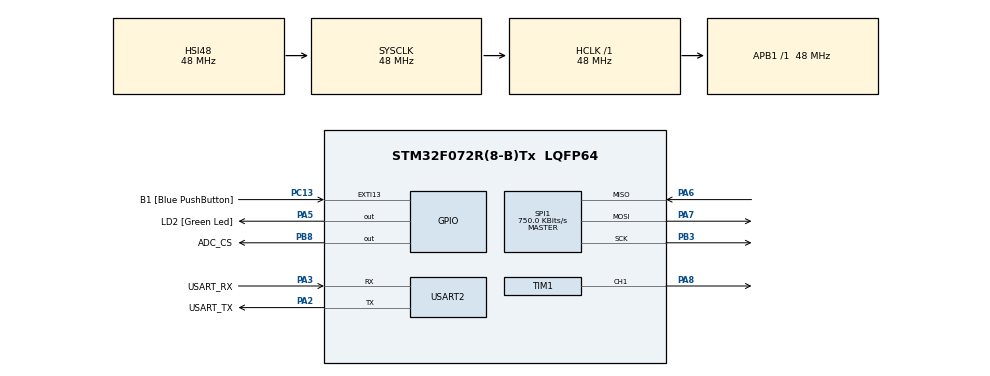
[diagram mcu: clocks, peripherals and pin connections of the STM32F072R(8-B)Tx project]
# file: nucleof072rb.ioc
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Mcu.Family=STM32F0
Mcu.Name=STM32F072R(8-B)Tx
Mcu.Package=LQFP64
PA13.GPIO_Label=TMS
PA13.Mode=Serial_Wire
PA13.Signal=SYS_SWDIO
PA14.GPIO_Label=TCK
PA14.Mode=Serial_Wire
PA14.Signal=SYS_SWCLK
PA2.GPIO_Label=USART_TX
PA2.GPIO_Mode=GPIO_MODE_AF_PP
PA2.GPIO_PuPd=GPIO_NOPULL
PA2.GPIO_Speed=GPIO_SPEED_FREQ_LOW
PA2.Mode=Asynchronous
PA2.Signal=USART2_TX
PA3.GPIO_Label=USART_RX
PA3.GPIO_Mode=GPIO_MODE_AF_PP
PA3.GPIO_PuPd=GPIO_NOPULL
PA3.GPIO_Speed=GPIO_SPEED_FREQ_LOW
PA3.Mode=Asynchronous
PA3.Signal=USART2_RX
PA5.GPIO_Label=LD2 [Green Led]
PA5.GPIO_Mode=GPIO_MODE_OUTPUT_PP
PA5.GPIO_PuPd=GPIO_NOPULL
PA5.GPIO_Speed=GPIO_SPEED_FREQ_LOW
PA5.Signal=GPIO_Output
PA6.Mode=Full_Duplex_Master
PA6.Signal=SPI1_MISO
PA7.Mode=Full_Duplex_Master
PA7.Signal=SPI1_MOSI
PA8.Signal=S_TIM1_CH1
PB3.Mode=Full_Duplex_Master
PB3.Signal=SPI1_SCK
PB8.GPIO_Label=ADC_CS
PB8.PinState=GPIO_PIN_SET
PB8.Signal=GPIO_Output
PC13.GPIO_Label=B1 [Blue PushButton]
PC13.GPIO_ModeDefaultEXTI=GPIO_MODE_IT_FALLING
PC13.Signal=GPXTI13
PC14-OSC32_IN.Mode=LSE-External-Oscillator
PC14-OSC32_IN.Signal=RCC_OSC32_IN
PC15-OSC32_OUT.Mode=LSE-External-Oscillator
PC15-OSC32_OUT.Signal=RCC_OSC32_OUT
PF0-OSC_IN.Mode=HSE-External-Clock-Source
PF0-OSC_IN.Signal=RCC_OSC_IN
PF1-OSC_OUT.Signal=RCC_OSC_OUT
ProjectManager.HeapSize=0x200
ProjectManager.StackSize=0x400
ProjectManager.TargetToolchain=STM32CubeIDE
RCC.AHBFreq_Value=48000000
RCC.APB1Freq_Value=48000000
RCC.APB1TimFreq_Value=48000000
RCC.FLatency-AdvancedSettings=FLASH_LATENCY_1
RCC.HCLKFreq_Value=48000000
RCC.PLLDivider=RCC_PREDIV_DIV2
RCC.PLLMUL=RCC_PLL_MUL12
RCC.PREFETCH_ENABLE-AdvancedSettings=1
RCC.SYSCLKFreq_VALUE=48000000
RCC.SYSCLKSource=RCC_SYSCLKSOURCE_HSI48
SH.S_TIM1_CH1.0=TIM1_CH1,PWM Generation1 CH1
SPI1.BaudRatePrescaler=SPI_BAUDRATEPRESCALER_64
SPI1.CalculateBaudRate=750.0 KBits/s
SPI1.DataSize=SPI_DATASIZE_8BIT
SPI1.Direction=SPI_DIRECTION_2LINES
SPI1.Mode=SPI_MODE_MASTER
SPI1.VirtualType=VM_MASTER
TIM1.Channel-PWM\ Generation1\ CH1=TIM_CHANNEL_1
TIM1.Period=63999
TIM1.Prescaler=14
TIM1.Pulse-PWM\ Generation1\ CH1=4800
USART2.VirtualMode=VM_ASYNC
USART2.VirtualMode-Asynchronous=VM_ASYNC
VP_TIM1_VS_ClockSourceINT.Mode=Internal
board=NUCLEO-F072RB

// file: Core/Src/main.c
/* USER CODE BEGIN Header */
/**
  ******************************************************************************
  * @file           : main.c
  * @brief          : Main program body
  ******************************************************************************
  * @attention
  *
  * <h2><center>&copy; Copyright (c) 2021 STMicroelectronics.
  * All rights reserved.</center></h2>
  *
  * This software component is licensed by ST under BSD 3-Clause license,
  * the "License"; You may not use this file except in compliance with the
  * License. You may obtain a copy of the License at:
  *                        opensource.org/licenses/BSD-3-Clause
  *
  ******************************************************************************
  */
/* USER CODE END Header */
#include "main.h"
#include "spi.h"
#include "tim.h"
#include "usart.h"
#include "gpio.h"

/* USER CODE BEGIN PD */

#define ADC_SPI_TIMEOUT_MS 100U
#define ADC_POLL_DELAY_MS 10U
#define ADC_MAX_VALUE 1023U
#define ADC_HIGH_BITS_MASK 0x03U
#define ADC_HIGH_BITS_SHIFT 8U

#define PWM_MIN_COUNTS 3200U
#define PWM_RANGE_COUNTS 3200U

/* USER CODE END PD */

/* USER CODE BEGIN PV */
static uint8_t adcTx[] = {0x01U, 0x80U, 0x00U};
static uint8_t adcRx[sizeof(adcTx)] = {0};
/* USER CODE END PV */

void SystemClock_Config(void);
/* USER CODE BEGIN PFP */
static HAL_StatusTypeDef readAdcChannel0(uint16_t *adcValue);
/* USER CODE END PFP */

int main(void)
{

  /* MCU Configuration--------------------------------------------------------*/

  /* Reset of all peripherals, Initializes the Flash interface and the Systick. */
  HAL_Init();

  /* Configure the system clock */
  SystemClock_Config();

  /* Initialize all configured peripherals */
  MX_GPIO_Init();
  MX_USART2_UART_Init();
  MX_SPI1_Init();
  MX_TIM1_Init();
  /* USER CODE BEGIN 2 */

  if (HAL_TIM_PWM_Start(&htim1, TIM_CHANNEL_1) != HAL_OK) {
    Error_Handler();
  }

  /* USER CODE END 2 */

  /* Infinite loop */
  while (1) {
    /* USER CODE BEGIN 3 */

    uint16_t adcValue = 0;

    if (readAdcChannel0(&adcValue) == HAL_OK) {
      // Convert the ADC reading into PWM timer counts
      uint32_t pulseCounts = PWM_MIN_COUNTS + ((uint32_t)adcValue * PWM_RANGE_COUNTS) / ADC_MAX_VALUE;

      // Update the PWM output
      __HAL_TIM_SET_COMPARE(&htim1, TIM_CHANNEL_1, pulseCounts);
    }

    HAL_Delay(ADC_POLL_DELAY_MS);
  }
  /* USER CODE END 3 */
}

void SystemClock_Config(void)
{
  RCC_OscInitTypeDef RCC_OscInitStruct = {0};
  RCC_ClkInitTypeDef RCC_ClkInitStruct = {0};
  RCC_PeriphCLKInitTypeDef PeriphClkInit = {0};

  /** Initializes the RCC Oscillators according to the specified parameters
  * in the RCC_OscInitTypeDef structure.
  */
  RCC_OscInitStruct.OscillatorType = RCC_OSCILLATORTYPE_HSI48;
  RCC_OscInitStruct.HSI48State = RCC_HSI48_ON;
  RCC_OscInitStruct.PLL.PLLState = RCC_PLL_NONE;
  if (HAL_RCC_OscConfig(&RCC_OscInitStruct) != HAL_OK)
  {
    Error_Handler();
  }

  /** Initializes the CPU, AHB and APB buses clocks
  */
  RCC_ClkInitStruct.ClockType = RCC_CLOCKTYPE_HCLK|RCC_CLOCKTYPE_SYSCLK
                              |RCC_CLOCKTYPE_PCLK1;
  RCC_ClkInitStruct.SYSCLKSource = RCC_SYSCLKSOURCE_HSI48;
  RCC_ClkInitStruct.AHBCLKDivider = RCC_SYSCLK_DIV1;
  RCC_ClkInitStruct.APB1CLKDivider = RCC_HCLK_DIV1;

  if (HAL_RCC_ClockConfig(&RCC_ClkInitStruct, FLASH_LATENCY_1) != HAL_OK)
  {
    Error_Handler();
  }
  PeriphClkInit.PeriphClockSelection = RCC_PERIPHCLK_USART2;
  PeriphClkInit.Usart2ClockSelection = RCC_USART2CLKSOURCE_PCLK1;
  if (HAL_RCCEx_PeriphCLKConfig(&PeriphClkInit) != HAL_OK)
  {
    Error_Handler();
  }
}

/* USER CODE BEGIN 4 */

static HAL_StatusTypeDef readAdcChannel0(uint16_t *adcValue) {
  // Select the ADC by pulling CS low
  HAL_GPIO_WritePin(GPIOB, GPIO_PIN_8, GPIO_PIN_RESET);

  // Send command and receive ADC data over SPI
  HAL_StatusTypeDef status = HAL_SPI_TransmitReceive(&hspi1, adcTx, adcRx, sizeof(adcTx), ADC_SPI_TIMEOUT_MS);

  // Deselect the ADC by pulling CS high
  HAL_GPIO_WritePin(GPIOB, GPIO_PIN_8, GPIO_PIN_SET);

  if (status == HAL_OK) {
    // Extract the 10-bit ADC result
    *adcValue = ((uint16_t)(adcRx[1] & ADC_HIGH_BITS_MASK) << ADC_HIGH_BITS_SHIFT) | adcRx[2];
  }

  return status;
}

/* USER CODE END 4 */

void Error_Handler(void)
{
  __disable_irq();
  while (1)
  {
  }
}
